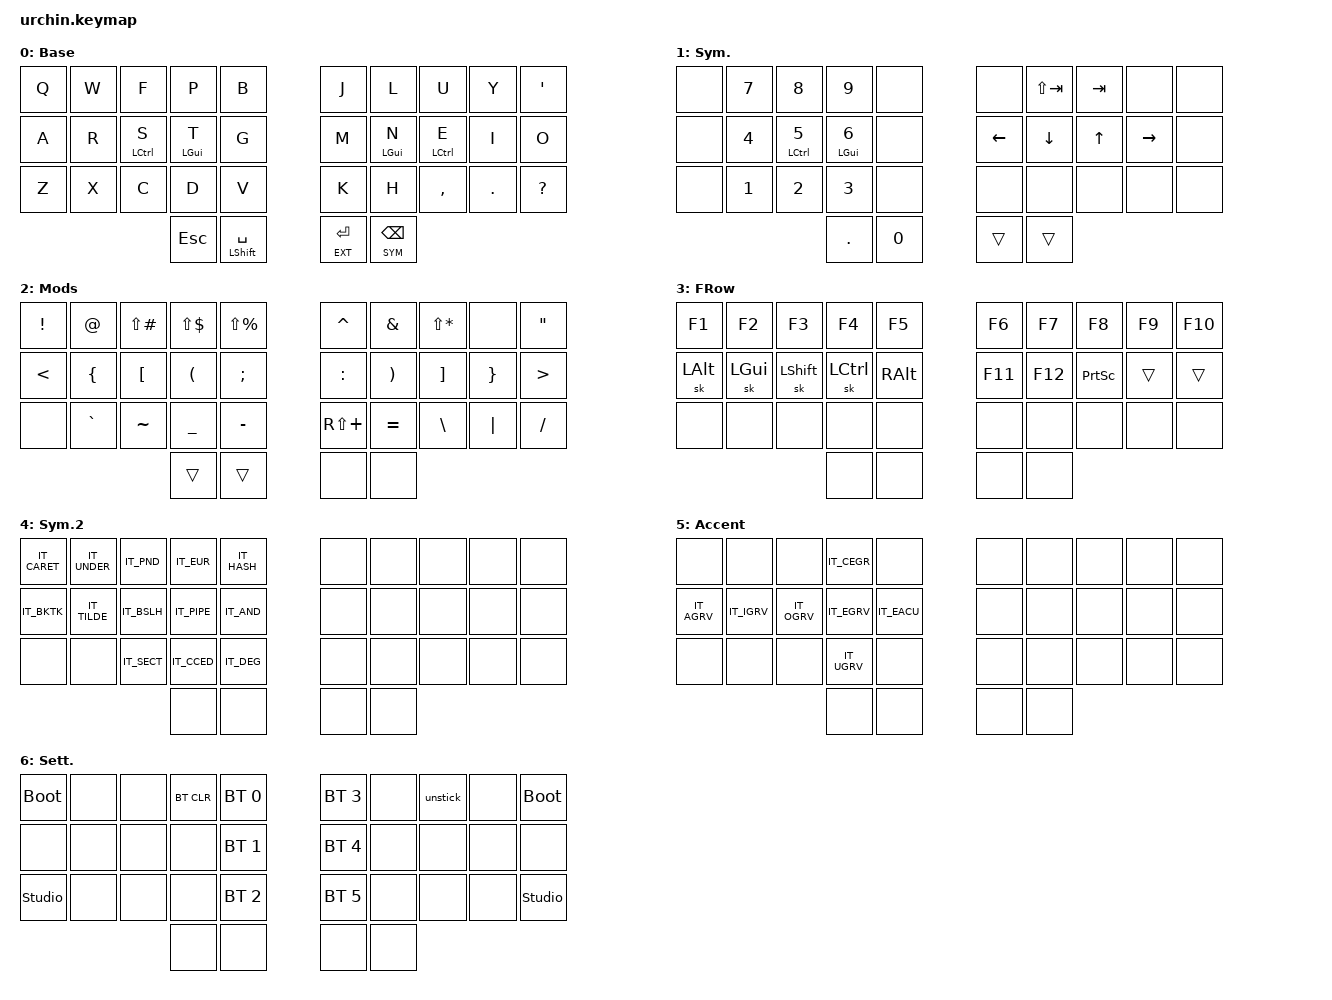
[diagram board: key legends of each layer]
/*
 * Copyright (c) 2020 duckyb
 *
 * SPDX-License-Identifier: MIT
 */

#include <behaviors.dtsi>
#include <dt-bindings/zmk/keys.h>
#include <dt-bindings/zmk/bt.h>
#include <dt-bindings/zmk/outputs.h>
#include "keymap_italian.h"

// Layer definitions
#define BASE 0
#define SYM 1
#define EXT 2
#define FNC 3
#define SYM2 4
#define ACCENT 5
#define SETTINGS 6
// -----------------

&sk {
	// don't release mods on other mods presses
	ignore-modifiers;
};


/ {
	behaviors {
		hm: homerow_mods {
		    compatible = "zmk,behavior-hold-tap";
		    label = "HOMEROW_MODS";
		    #binding-cells = <2>;
		    tapping-term-ms = <200>;
		    quick_tap_ms = <175>;
		    flavor = "tap-preferred";
		    bindings = <&kp>, <&kp>;
		};
		// Enables holding the first mod-tap key
		// by performing a tap-release-hold sequence.
		// To use it: "&qt KEYCODE1 KEYCODE2"
		qt: quick_tap {
			compatible = "zmk,behavior-hold-tap";
			label = "QUICK_TAP";
			#binding-cells = <2>;
			flavor = "hold-preferred";
			tapping-term-ms = <200>;
			quick-tap-ms = <200>;
			bindings = <&kp>, <&kp>;
		};
	};

	macros {
		// sometimes my device thinks a modifier is being held down
		// pressing all modifiers fixes it.
		unstick: unstick {
			label = "ZM_unstick";
			compatible = "zmk,behavior-macro";
			#binding-cells = <0>;
			bindings = <&kp LSHIFT &kp RSHIFT &kp LCTRL &kp RCTRL &kp LALT &kp RALT &kp LGUI &kp RGUI>;
		};
	};

	combos {
		compatible = "zmk,combos";
		// both right thumb keys
		combo_accent {
			timeout-ms = <200>;
			key-positions = <32 33>;
			bindings = <&mo ACCENT>;
		};
		// internal-left & external-right thumb keys
		combo_sym2 {
			timeout-ms = <200>;
			key-positions = <31 33>;
			bindings = <&mo SYM2>;
		};
		// both left thumb keys
		combo_settings {
			timeout-ms = <200>;
			key-positions = <30 31>;
			bindings = <&mo SETTINGS>;
		};
		// left index & middle fingers (home-row)
		// hold control & space for Adobe workflow
		combo_ctrl_space {
			timeout-ms = <200>;
			key-positions = <12 13>;
			bindings = <&kp LC(SPACE)>;
			layers = <BASE>;
		};
	};

	keymap {
		compatible = "zmk,keymap";
		// Base alpha layer
		default_layer {
			label = "Base";
			bindings = <
			&kp Q &kp W &kp F        &kp P          &kp B	&kp J &kp L           &kp U        &kp Y   &kp SQT       
			&kp A &kp R &hm LCTRL S  &hm LEFT_GUI T &kp G	&kp M &hm LEFT_GUI N  &hm LCTRL E  &kp I   &kp O         
			&kp Z &kp X &kp C        &kp D          &kp V   &kp K &kp H           &kp COMMA    &kp DOT &kp QUESTION
				&kp ESCAPE  &mt LEFT_SHIFT SPACE  &lt EXT RET  &lt SYM BACKSPACE 
			>;
		};

		// Numbers and high frequency symbols
		sym_layer {
			label = "Sym.";
			bindings = <
			&none &kp N7 &kp N8       &kp N9      &none &none    &kp LS(TAB) &kp TAB      &none     &none
			&none &kp N4 &hm LCTRL N5 &hm LGUI N6 &none &kp LEFT &kp DOWN    &kp UP_ARROW &kp RIGHT &none
			&none &kp N1 &kp N2       &kp N3      &none &none    &none       &none        &none     &none  
							&kp DOT  &kp N0  &trans  &trans                   

			>;
		};

		// Main modifiers and arrow keys
		ext_layer {
			label = "Mods";
			bindings = <
			&kp EXCL       &kp AT          &kp LS(POUND)     &kp LS(DOLLAR)        &kp LS(PERCENT)         &kp CARET     &kp AMPS               &kp LS(ASTRK)      &none            &kp DQT           
			&kp LESS_THAN  &kp LEFT_BRACE  &kp LEFT_BRACKET  &kp LEFT_PARENTHESIS  &kp SEMI                &kp COLON     &kp RIGHT_PARENTHESIS  &kp RIGHT_BRACKET  &kp RIGHT_BRACE  &kp GREATER_THAN  
			&none          &kp GRAVE       &kp TILDE         &kp UNDER             &kp MINUS               &kp RS(PLUS)  &kp EQUAL              &kp BACKSLASH      &kp PIPE         &kp SLASH         
												&trans  &trans  &none    &none  
			>;
		};

		// Function keys with modifiers
		fnc_layer {
			label = "FRow";
			bindings = <
			&kp F1 &kp F2 &kp F3 &kp F4 &kp F5                  &kp F6 &kp F7 &kp F8 &kp F9 &kp F10 
			&sk LALT &sk LGUI &sk LSHIFT &sk LCTRL &kp RALT     &kp F11 &kp F12  &kp PRINTSCREEN &trans &trans
			&none &none &none &none &none				          &none &none &none &none &none 
							  &none &none              &none &none  
			>;
		};

		// Low frequency symbols.
		symbols_2_layer {
			label = "Sym.2";
			bindings = <
			&kp IT_CARET &kp IT_UNDER &kp IT_PND &kp IT_EUR &kp IT_HASH         &none &none &none &none &none 
			&kp IT_BKTK &kp IT_TILDE &kp IT_BSLH &kp IT_PIPE &kp IT_AND         &none &none &none &none &none
			&none 			&none 			 &kp IT_SECT &kp IT_CCED &kp IT_DEG				  &none &none &none &none &none
																	&none &none        	&none &none 
			>;
		};

		// Used to type regional accents.
		accent_layer {
			label = "Accent";
			bindings = <
			&none &none &none &kp IT_CEGR &none                         &none &none &none &none &none 
			&kp IT_AGRV &kp IT_IGRV &kp IT_OGRV &kp IT_EGRV &kp IT_EACU &none &none &none &none &none
			&none &none &none &kp IT_UGRV &none                         &none &none &none &none &none
									&none &none                         &none &none 
			>;
		};

		// Used to change the keyboard's settings.
		settings_layer {
				label = "Sett.";
				bindings = <
				&bootloader &none &none &bt BT_CLR &bt BT_SEL 0               &bt BT_SEL 3 &none &unstick &none &bootloader 
				&none &none &none &none      &bt BT_SEL 1 						  &bt BT_SEL 4 &none &none &none &none
				&studio_unlock &none &none &none      &bt BT_SEL 2               &bt BT_SEL 5 &none &none &none &studio_unlock
										&none &none                         &none &none 
				>;
		};
	};
};
